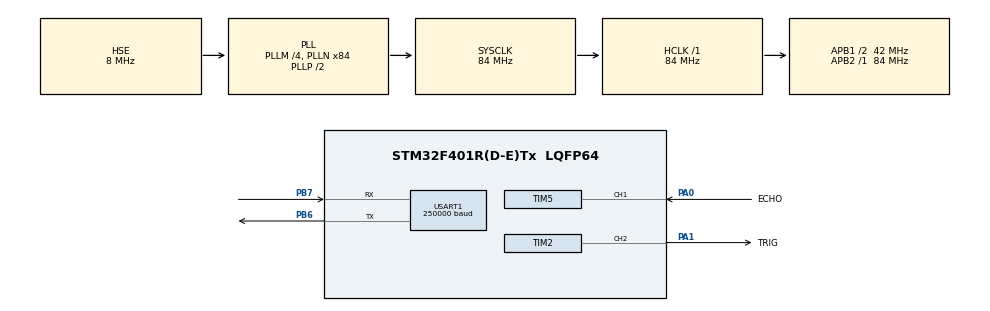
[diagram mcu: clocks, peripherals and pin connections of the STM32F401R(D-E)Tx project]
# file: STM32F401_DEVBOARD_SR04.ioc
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Mcu.Family=STM32F4
Mcu.Name=STM32F401R(D-E)Tx
Mcu.Package=LQFP64
NVIC.PriorityGroup=NVIC_PRIORITYGROUP_4
NVIC.TIM5_IRQn=true\:0\:0\:false\:false\:true\:true\:true\:true
PA0-WKUP.GPIO_Label=ECHO
PA0-WKUP.Signal=S_TIM5_CH1
PA1.GPIO_Label=TRIG
PA1.Signal=S_TIM2_CH2
PB6.Mode=Asynchronous
PB6.Signal=USART1_TX
PB7.Mode=Asynchronous
PB7.Signal=USART1_RX
PH0\ -\ OSC_IN.Mode=HSE-External-Oscillator
PH0\ -\ OSC_IN.Signal=RCC_OSC_IN
PH1\ -\ OSC_OUT.Mode=HSE-External-Oscillator
PH1\ -\ OSC_OUT.Signal=RCC_OSC_OUT
ProjectManager.HeapSize=0x200
ProjectManager.StackSize=0x400
ProjectManager.TargetToolchain=STM32CubeIDE
RCC.48MHZClocksFreq_Value=42000000
RCC.AHBFreq_Value=84000000
RCC.APB1CLKDivider=RCC_HCLK_DIV2
RCC.APB1Freq_Value=42000000
RCC.APB1TimFreq_Value=84000000
RCC.APB2Freq_Value=84000000
RCC.APB2TimFreq_Value=84000000
RCC.CortexFreq_Value=84000000
RCC.HCLKFreq_Value=84000000
RCC.HSE_VALUE=8000000
RCC.HSI_VALUE=16000000
RCC.LSE_VALUE=32768
RCC.PLLM=4
RCC.PLLN=84
RCC.PLLSourceVirtual=RCC_PLLSOURCE_HSE
RCC.SYSCLKFreq_VALUE=84000000
RCC.SYSCLKSource=RCC_SYSCLKSOURCE_PLLCLK
RCC.VCOOutputFreq_Value=168000000
SH.S_TIM2_CH2.0=TIM2_CH2,PWM Generation2 CH2
SH.S_TIM5_CH1.0=TIM5_CH1,Input_Capture1_from_TI1
TIM2.Channel-PWM\ Generation2\ CH2=TIM_CHANNEL_2
TIM2.Period=50000
TIM2.Prescaler=83
TIM2.Pulse-PWM\ Generation2\ CH2=0
TIM5.Channel-Input_Capture1_from_TI1=TIM_CHANNEL_1
TIM5.Channel-Input_Capture2_from_TI1_63=TIM_CHANNEL_2
TIM5.ICFilter_CH1=1
TIM5.ICPolarity_CH2=TIM_INPUTCHANNELPOLARITY_FALLING
TIM5.Period=65000
TIM5.Prescaler=83
USART1.BaudRate=250000
USART1.VirtualMode=VM_ASYNC
VP_TIM5_VS_indirect_ch1.Mode=Input_Capture2_from_TI1_63
board=custom

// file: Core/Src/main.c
/* USER CODE BEGIN Header */
/**
  ******************************************************************************
  * @file           : main.c
  * @brief          : Main program body
  ******************************************************************************
  * @attention
  *
  * Copyright (c) 2026 STMicroelectronics.
  * All rights reserved.
  *
  * This software is licensed under terms that can be found in the LICENSE file
  * in the root directory of this software component.
  * If no LICENSE file comes with this software, it is provided AS-IS.
  *
  ******************************************************************************
  */
/* USER CODE END Header */
#include "main.h"
#include "tim.h"
#include "usart.h"
#include "gpio.h"

/* USER CODE BEGIN Includes */
#include <stdint.h>
#include <stdio.h>
#include <stdbool.h>
#include <string.h>

/* USER CODE END Includes */

/* USER CODE BEGIN PM */

#define PULSE_TRIG_US                            10                            // uS
#define DEAD_TIME                                00                            // uS
#define REACT_TIME                               12000                         // uS
#define BLIND_DISTACE_MIN                        1000                          // uS = 0.17 m in air and 0.75 m in water
#define BLIND_DISTACE_MAX                        20000                         // uS = 5.16 m in air and 22.22 m in water
#define SOUND_SPEED                              344                           // 344 m/S in air and 1481 m/S in water 20°С

#define APB1_TIM_FREQ                            42000000                      // TIM2, TIM3, TIM4, TIM5, TIM6, TIM7, TIM12, TIM13, TIM14
#define APB2_TIM_FREQ                            84000000                      // TIM1, TIM8, TIM9, TIM10, TIM11

#define TIM2_COUNT_PER_HZ                        1000000                       // if 1'000'000 one tick = 1uS
#define TIM2_FREQ                                20                            // Hz

#define TIM5_COUNT_PER_HZ                        1000000                       // if 1'000'000 one tick = 1uS
#define TIM5_FREQ                                20                            // Hz

/* USER CODE END PM */

/* USER CODE BEGIN PV */

char TX_Buffer[64];

/* USER CODE END PV */

void SystemClock_Config(void);
/* USER CODE BEGIN PFP */
void TIMers_Init (void);
/* USER CODE END PFP */

int main(void)
{

  /* MCU Configuration--------------------------------------------------------*/

  /* Reset of all peripherals, Initializes the Flash interface and the Systick. */
  HAL_Init();

  /* Configure the system clock */
  SystemClock_Config();

  /* Initialize all configured peripherals */
  MX_GPIO_Init();
  MX_USART1_UART_Init();
  MX_TIM2_Init();
  MX_TIM5_Init();

  /* Infinite loop */
  /* USER CODE BEGIN WHILE */

  sprintf (TX_Buffer, "SR04 test\n");
  HAL_UART_Transmit (&huart1, (uint8_t*) TX_Buffer, strlen (TX_Buffer), 20);

  TIMers_Init ();

  while (1)
  {
    /* USER CODE END WHILE */

  }
}

void SystemClock_Config(void)
{
  RCC_OscInitTypeDef RCC_OscInitStruct = {0};
  RCC_ClkInitTypeDef RCC_ClkInitStruct = {0};

  /** Configure the main internal regulator output voltage
  */
  __HAL_RCC_PWR_CLK_ENABLE();
  __HAL_PWR_VOLTAGESCALING_CONFIG(PWR_REGULATOR_VOLTAGE_SCALE2);

  /** Initializes the RCC Oscillators according to the specified parameters
  * in the RCC_OscInitTypeDef structure.
  */
  RCC_OscInitStruct.OscillatorType = RCC_OSCILLATORTYPE_HSE;
  RCC_OscInitStruct.HSEState = RCC_HSE_ON;
  RCC_OscInitStruct.PLL.PLLState = RCC_PLL_ON;
  RCC_OscInitStruct.PLL.PLLSource = RCC_PLLSOURCE_HSE;
  RCC_OscInitStruct.PLL.PLLM = 4;
  RCC_OscInitStruct.PLL.PLLN = 84;
  RCC_OscInitStruct.PLL.PLLP = RCC_PLLP_DIV2;
  RCC_OscInitStruct.PLL.PLLQ = 4;
  if (HAL_RCC_OscConfig(&RCC_OscInitStruct) != HAL_OK)
  {
    Error_Handler();
  }

  /** Initializes the CPU, AHB and APB buses clocks
  */
  RCC_ClkInitStruct.ClockType = RCC_CLOCKTYPE_HCLK|RCC_CLOCKTYPE_SYSCLK
                              |RCC_CLOCKTYPE_PCLK1|RCC_CLOCKTYPE_PCLK2;
  RCC_ClkInitStruct.SYSCLKSource = RCC_SYSCLKSOURCE_PLLCLK;
  RCC_ClkInitStruct.AHBCLKDivider = RCC_SYSCLK_DIV1;
  RCC_ClkInitStruct.APB1CLKDivider = RCC_HCLK_DIV2;
  RCC_ClkInitStruct.APB2CLKDivider = RCC_HCLK_DIV1;

  if (HAL_RCC_ClockConfig(&RCC_ClkInitStruct, FLASH_LATENCY_2) != HAL_OK)
  {
    Error_Handler();
  }
}

/* USER CODE BEGIN 4 */

void TIMers_Init (void)
{
  uint32_t pclk1 = HAL_RCC_GetPCLK1Freq();
  uint32_t tim_clock;

  // Проверяем делитель APB1 (биты PPRE1 в регистре CFGR)
  // Если делитель шины не равен 1 (000), частота таймера = PCLK1 * 2
  if ((RCC->CFGR & RCC_CFGR_PPRE1) == 0)
  {
      tim_clock = pclk1;
  }
  else
  {
      tim_clock = pclk1 * 2;
  }

  TIM2->PSC = (tim_clock / TIM2_COUNT_PER_HZ) - 1;
  TIM2->ARR = (TIM2_COUNT_PER_HZ / TIM2_FREQ) - 1;
  TIM2->EGR |= TIM_EGR_UG;

  TIM2->CCR2 = PULSE_TRIG_US;                                                  // uS

  TIM5->PSC = (tim_clock / TIM5_COUNT_PER_HZ) - 1;
  TIM5->ARR = (TIM5_COUNT_PER_HZ / TIM5_FREQ) - 1;
  TIM5->EGR |= TIM_EGR_UG;

  HAL_TIM_PWM_Start (&htim2, TIM_CHANNEL_2);

  HAL_TIM_IC_Start_IT (&htim5, TIM_CHANNEL_1);
  HAL_TIM_IC_Start_IT (&htim5, TIM_CHANNEL_2);
}

void HAL_TIM_IC_CaptureCallback (TIM_HandleTypeDef *htim)                      // колбек по захвату
{
  if (htim->Instance == TIM5)
  {
    if (htim->Channel == HAL_TIM_ACTIVE_CHANNEL_1)                             // RISING с LOW на HIGH
    {
      __HAL_TIM_SET_COUNTER(&htim5, 0x0000);                                   // обнуление счётчика
    }

    else if (htim->Channel == HAL_TIM_ACTIVE_CHANNEL_2)                        // FALLING с HIGH на LOW
    {
      uint32_t time = HAL_TIM_ReadCapturedValue (&htim5, TIM_CHANNEL_2) - DEAD_TIME;
      // чтение значения в регистре захвата/сравнения

      sprintf (TX_Buffer, "ECHO TIME: %i uS\n", time);
      HAL_UART_Transmit (&huart1, (uint8_t*) TX_Buffer, strlen (TX_Buffer), 20);

      sprintf(TX_Buffer, "DISTANCE: %i cm\n", (time * SOUND_SPEED) / 20000);
      // переводим в см (* 100) / сек (/ 1'000'000) с учетом двойного пути (/ 2)
      HAL_UART_Transmit (&huart1, (uint8_t*) TX_Buffer, strlen (TX_Buffer), 20);
    }
  }
}

/* USER CODE END 4 */

void Error_Handler(void)
{
  __disable_irq();
  while (1)
  {
  }
}
